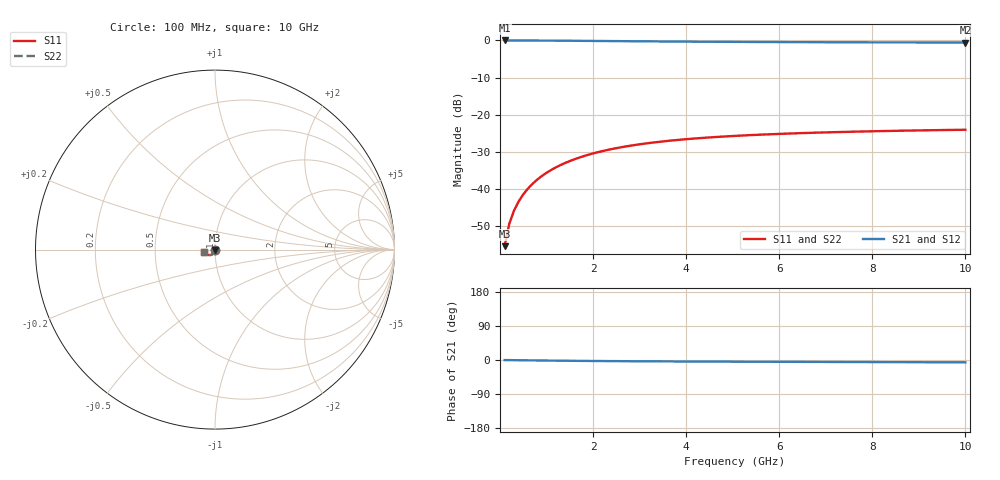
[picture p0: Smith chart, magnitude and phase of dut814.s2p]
! Touchstone file exported from HFSS 2024.1.0
!  File:  C:/UserFiles/LocalFiles/RDL_TSV_Batchsim/temp_TSV1_814_1779877519.aedt
!  Generated:  06:30:40 PM May 27, 2026
!  Design:  TSV1
!  Project:  temp_TSV1_814_1779877519
!  Setup:  Setup1
!  Solution:  Sweep
! Variables:
!  dtsv = 11.08um
!  hbump = 3um
!  htsv = 99.07um
!  lrdl = 252.1521522um
!  p = 40
!  p1 = 46.22um
!  t = 500um
!  trdl = 3um
!  wrdl = 24.89489489um
# GHz S MA R 50.000000
! Terminal data exported
! Port[1] = TSV22_T1
! Port[2] = TSV22_T2
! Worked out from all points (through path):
!   100 points, 100 MHz to 10 GHz, reference 50 ohm
!   highest |S21| = 0.00 dB at 100 MHz (marker M1); lowest = -0.6 dB at 10 GHz (marker M2)
!   lowest |S11| = -55.4 dB at 100 MHz (marker M3), VSWR 1.00, Z = 50 - j0.17 ohm
!   |S11| at or under -10 dB: start of sweep to end of sweep
!   |S22| runs from -55.4 to -24.0 dB; largest |S21 - S12| = 3.6e-15
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0.1  0.001703 -87.0  0.9998 -0.2  0.9998 -0.2  0.001703 -87.0
! Gamma 0 0 0 0
! Port Impedance 50 0 50 0
0.2  0.003399 -90.8  0.9996 -0.3  0.9996 -0.3  0.003399 -90.8
0.3  0.005095 -93.1  0.9994 -0.5  0.9994 -0.5  0.005095 -93.1
0.4  0.006785 -95.1  0.999 -0.6  0.999 -0.6  0.006785 -95.1
0.5  0.008463 -96.9  0.9986 -0.8  0.9986 -0.8  0.008463 -96.9
0.6  0.01013 -98.7  0.9981 -0.9  0.9981 -0.9  0.01013 -98.7
0.7  0.01177 -100.4  0.9975 -1.0  0.9975 -1.0  0.01177 -100.4
0.8  0.01339 -102.1  0.9968 -1.2  0.9968 -1.2  0.01339 -102.1
0.9  0.01498 -103.7  0.996 -1.3  0.996 -1.3  0.01498 -103.7
1.1  0.01806 -106.9  0.9944 -1.6  0.9944 -1.6  0.01806 -106.9
1.4  0.02244 -111.5  0.9915 -2.0  0.9915 -2.0  0.02244 -111.5
1.6  0.02516 -114.4  0.9894 -2.2  0.9894 -2.2  0.02516 -114.4
1.8  0.02773 -117.1  0.9872 -2.4  0.9872 -2.4  0.02773 -117.1
2.1  0.0313 -121.0  0.9838 -2.7  0.9838 -2.7  0.0313 -121.0
2.5  0.03551 -125.8  0.9792 -3.0  0.9792 -3.0  0.03552 -125.8
2.9  0.03917 -130.2  0.9749 -3.3  0.9749 -3.3  0.03917 -130.2
3.4  0.04306 -135.0  0.9697 -3.6  0.9697 -3.6  0.04306 -135.0
4.2  0.04798 -141.7  0.9626 -4.0  0.9626 -4.0  0.04799 -141.7
5.1  0.05213 -147.9  0.9561 -4.4  0.9561 -4.4  0.05213 -147.9
6.7  0.05717 -156.6  0.9476 -5.0  0.9476 -5.0  0.05717 -156.6
8.4  0.06062 -163.7  0.9415 -5.6  0.9415 -5.6  0.06062 -163.7
10  0.06286 -169.1  0.9375 -6.2  0.9375 -6.2  0.06286 -169.1
